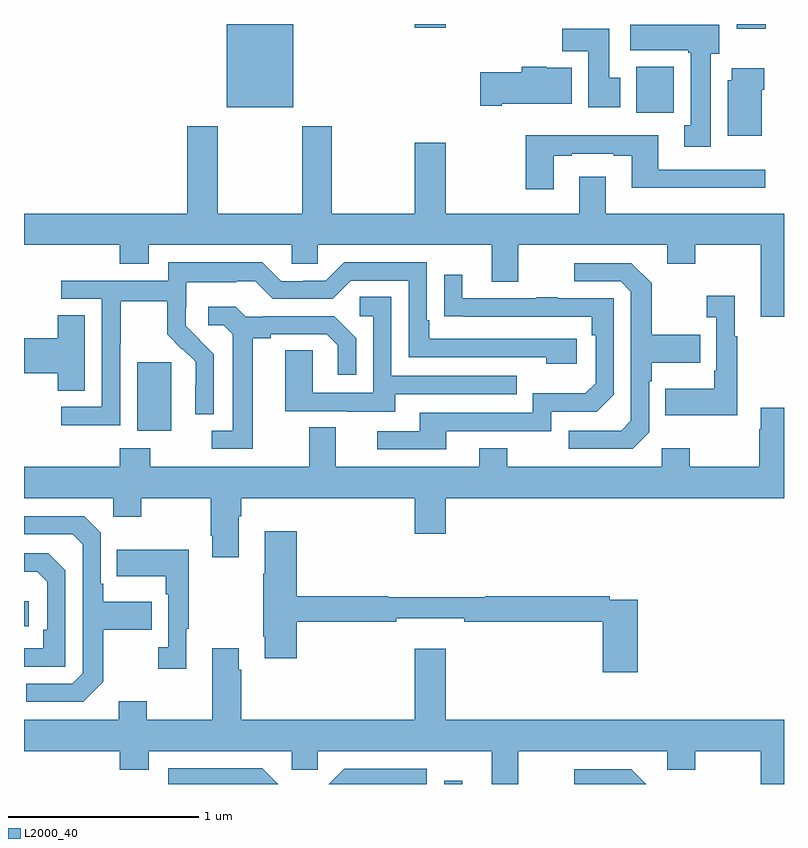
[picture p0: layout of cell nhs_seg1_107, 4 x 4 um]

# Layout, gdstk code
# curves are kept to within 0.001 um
import gdstk
lib = gdstk.Library(unit=1e-6, precision=1e-09)
def R(c, l, rs):  # rectangles x0, y0, x1, y1
    for r in rs: c.add(gdstk.rectangle(r[:2], r[2:], *l))
def P(c, l, *ps):  # polygons
    for p in ps: c.add(gdstk.Polygon(p, *l))
L2000_40 = (2000, 40)

nhs_seg1_107 = lib.new_cell('nhs_seg1_107')
R(nhs_seg1_107, L2000_40, [(117.211,578.199,117.307,578.215), (115,579.03,115.024,579.16), (115.595,580.058,115.774,580.419), (118.223,581.732,118.42,581.974), (116.066,581.762,116.416,582.199), (118.751,582.174,118.904,582.199), (117.056,582.18,117.22,582.199)])
P(nhs_seg1_107, L2000_40, [(118.615,582.042),(118.66,582.042),(118.66,582.196),(118.191,582.196),(118.191,582.062),(118.495,582.062),(118.495,582.049),(118.508,582.049),(118.508,581.666),(118.475,581.666),(118.475,581.553),(118.615,581.553)],
  [(118.138,581.916),(118.081,581.916),(118.081,582.175),(117.832,582.175),(117.832,582.056),(117.971,582.056),(117.971,581.76),(118.138,581.76)],
  [(117.514,581.78),(117.883,581.78),(117.883,581.968),(117.75,581.968),(117.75,581.974),(117.62,581.974),(117.62,581.946),(117.402,581.946),(117.402,581.768),(117.514,581.768)],
  [(118.882,581.852),(118.895,581.852),(118.895,581.965),(118.724,581.965),(118.724,581.904),(118.703,581.904),(118.703,581.612),(118.882,581.612)],
  [(119,581.2),(118.063,581.2),(118.063,581.395),(117.923,581.395),(117.923,581.2),(117.22,581.2),(117.22,581.575),(117.056,581.575),(117.056,581.2),(116.619,581.2),(116.619,581.662),(116.464,581.662),(116.464,581.2),(116.019,581.2),(116.019,581.662),(115.859,581.662),(115.859,581.2),(115,581.2),(115,581.036),(115.505,581.036),(115.505,580.937),(115.657,580.937),(115.657,581.036),(116.409,581.036),(116.409,580.938),(116.547,580.938),(116.547,581.036),(117.461,581.036),(117.461,580.842),(117.601,580.842),(117.601,581.036),(118.385,581.036),(118.385,580.937),(118.533,580.937),(118.533,581.036),(118.877,581.036),(118.877,580.659),(119,580.659)],
  [(117.787,581.505),(117.883,581.505),(117.883,581.517),(118.103,581.517),(118.103,581.505),(118.199,581.505),(118.199,581.336),(118.9,581.336),(118.9,581.433),(118.339,581.433),(118.339,581.614),(117.64,581.614),(117.64,581.328),(117.787,581.328)],
  [(115.506,580.516),(115.509,580.516),(115.509,580.74),(115.753,580.74),(115.753,580.565),(115.83,580.488),(115.833,580.491),(115.904,580.421),(115.904,580.298),(115.902,580.298),(115.902,580.144),(115.998,580.144),(115.998,580.462),(115.852,580.61),(115.852,580.707),(115.854,580.707),(115.854,580.841),(116.117,580.841),(116.117,580.845),(116.217,580.845),(116.31,580.752),(116.625,580.752),(116.721,580.848),(117.024,580.848),(117.024,580.446),(117.749,580.446),(117.749,580.412),(117.91,580.412),(117.91,580.542),(117.133,580.542),(117.133,580.639),(117.12,580.639),(117.12,580.944),(116.685,580.944),(116.589,580.848),(116.471,580.848),(116.471,580.845),(116.355,580.845),(116.255,580.945),(115.758,580.945),(115.758,580.848),(115.197,580.848),(115.197,580.752),(115.41,580.752),(115.41,580.185),(115.197,580.185),(115.197,580.087),(115.506,580.087)],
  [(118.29,580.05),(118.29,580.319),(118.303,580.319),(118.303,580.415),(118.559,580.415),(118.559,580.563),(118.303,580.563),(118.303,580.835),(118.197,580.941),(117.897,580.941),(117.897,580.845),(118.14,580.845),(118.194,580.791),(118.194,580.11),(118.143,580.059),(117.867,580.059),(117.867,579.963),(118.203,579.963)],
  [(117.223,580.056),(117.774,580.056),(117.774,580.158),(118.014,580.158),(118.104,580.248),(118.104,580.755),(117.809,580.755),(117.809,580.76),(117.697,580.76),(117.697,580.755),(117.307,580.755),(117.307,580.879),(117.211,580.879),(117.211,580.66),(117.988,580.659),(117.988,580.562),(118.008,580.562),(118.008,580.308),(117.955,580.255),(117.678,580.255),(117.678,580.152),(117.083,580.152),(117.083,580.056),(116.859,580.056),(116.859,579.96),(117.223,579.96)],
  [(118.753,580.555),(118.741,580.555),(118.741,580.768),(118.593,580.768),(118.593,580.655),(118.644,580.655),(118.644,580.375),(118.632,580.375),(118.632,580.279),(118.375,580.279),(118.375,580.139),(118.753,580.139)],
  [(116.953,580.251),(117.593,580.251),(117.593,580.347),(116.934,580.347),(116.934,580.763),(116.766,580.763),(116.766,580.662),(116.838,580.662),(116.838,580.257),(116.52,580.257),(116.52,580.481),(116.375,580.481),(116.375,580.161),(116.699,580.161),(116.699,580.157),(116.953,580.157)],
  [(116.203,580.544),(116.299,580.544),(116.299,580.566),(116.594,580.566),(116.651,580.509),(116.651,580.353),(116.748,580.353),(116.748,580.546),(116.632,580.662),(116.26,580.662),(116.26,580.659),(116.166,580.659),(116.114,580.711),(115.971,580.711),(115.971,580.614),(116.052,580.614),(116.099,580.567),(116.099,580.059),(115.989,580.059),(115.989,579.963),(116.203,579.963)],
  [(115.321,580.667),(115.178,580.667),(115.178,580.544),(115,580.544),(115,580.361),(115.178,580.361),(115.178,580.27),(115.321,580.27)],
  [(116.131,579.608),(116.144,579.608),(116.144,579.704),(117.056,579.704),(117.056,579.516),(117.22,579.516),(117.22,579.704),(119,579.704),(119,580.18),(118.877,580.18),(118.877,580.067),(118.87,580.067),(118.87,579.868),(118.503,579.868),(118.503,579.967),(118.356,579.967),(118.356,579.868),(117.543,579.868),(117.543,579.967),(117.395,579.967),(117.395,579.868),(116.641,579.868),(116.641,580.076),(116.501,580.076),(116.501,579.868),(115.665,579.868),(115.665,579.967),(115.505,579.967),(115.505,579.868),(115,579.868),(115,579.704),(115.47,579.704),(115.47,579.605),(115.617,579.605),(115.617,579.704),(115.984,579.704),(115.984,579.505),(115.991,579.505),(115.991,579.393),(116.131,579.393)],
  [(115.417,578.737),(115.417,579.01),(115.673,579.01),(115.673,579.157),(115.417,579.157),(115.417,579.253),(115.404,579.253),(115.404,579.522),(115.317,579.609),(115,579.609),(115,579.513),(115.257,579.513),(115.308,579.462),(115.308,578.781),(115.254,578.727),(115.011,578.727),(115.011,578.631),(115.311,578.631)],
  [(118.229,579.168),(118.082,579.168),(118.082,579.188),(117.427,579.188),(117.427,579.181),(116.918,579.181),(116.918,579.188),(116.435,579.188),(116.435,579.529),(116.267,579.529),(116.267,579.305),(116.26,579.305),(116.26,578.974),(116.267,578.974),(116.267,578.862),(116.435,578.862),(116.435,579.052),(116.96,579.052),(116.96,579.071),(117.316,579.071),(117.316,579.052),(118.046,579.052),(118.046,578.787),(118.229,578.787)],
  [(115.855,579.017),(115.867,579.017),(115.867,579.433),(115.489,579.433),(115.489,579.293),(115.746,579.293),(115.746,579.197),(115.758,579.197),(115.758,578.918),(115.707,578.918),(115.707,578.805),(115.855,578.805)],
  [(115.218,579.324),(115.128,579.414),(115,579.414),(115,579.317),(115.069,579.317),(115.122,579.264),(115.122,579.01),(115.102,579.01),(115.102,578.913),(115,578.913),(115,578.817),(115.218,578.817)],
  [(117.601,578.372),(118.385,578.372),(118.385,578.273),(118.533,578.273),(118.533,578.372),(118.877,578.372),(118.877,578.199),(119,578.199),(119,578.536),(117.22,578.536),(117.22,578.911),(117.056,578.911),(117.056,578.536),(116.144,578.536),(116.144,578.801),(116.131,578.801),(116.131,578.914),(115.991,578.914),(115.991,578.536),(115.647,578.536),(115.647,578.635),(115.499,578.635),(115.499,578.536),(115,578.536),(115,578.372),(115.505,578.372),(115.505,578.273),(115.657,578.273),(115.657,578.372),(116.409,578.372),(116.409,578.274),(116.547,578.274),(116.547,578.372),(117.461,578.372),(117.461,578.199),(117.601,578.199)],
  [(116.255,578.281),(115.758,578.281),(115.758,578.199),(116.337,578.199)],
  [(117.12,578.28),(116.685,578.28),(116.604,578.199),(117.12,578.199)],
  [(118.197,578.277),(117.897,578.277),(117.897,578.199),(118.275,578.199)])

lib.write_gds('nhs_seg1_107.gds')
